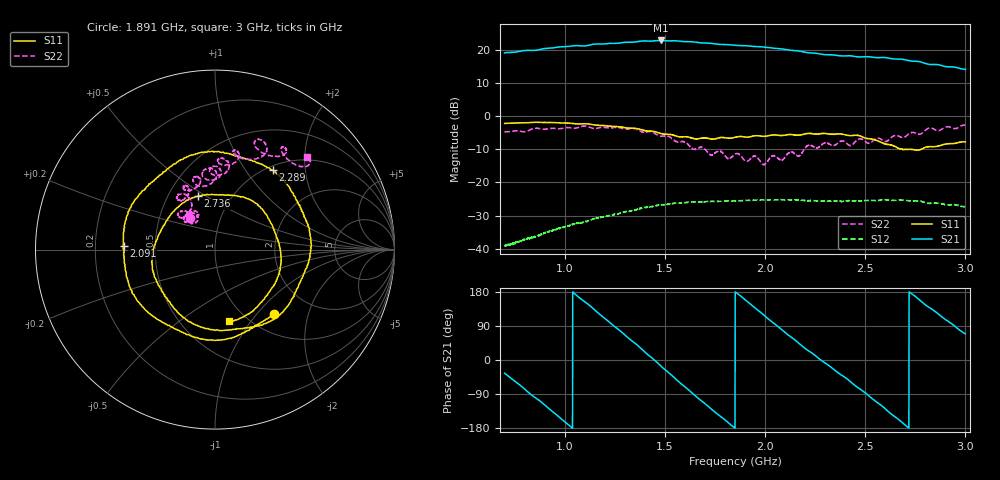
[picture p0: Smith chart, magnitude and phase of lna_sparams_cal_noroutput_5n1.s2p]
#  HZ  S  RI  R  50.00
! Rohde & Schwarz Vector Network Analyzer
! Rohde-Schwarz,ZNB20-2Port,1311601062102243,3.20
! Created: UTC 11/3/2022, 3:22:56 PM
! freq[Hz]  re:S11  im:S11  re:S21  im:S21  re:S12  im:S12  re:S22  im:S22
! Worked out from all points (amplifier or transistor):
!   2301 points, 700 MHz to 3 GHz, reference 50 ohm
!   highest |S21| = 22.8 dB at 1.48 GHz (marker M1)
!   |S21| within 3 dB of that: 848.2 MHz to 2.136 GHz (1.288 GHz wide, 86.3 % of centre) (the widest 1 of 4)
!   unconditionally stable (mu >= 1): start of sweep to 985.3 MHz; 986.6705 MHz to 987.4075 MHz; 2.017 GHz to end of sweep (the widest 3 of 5)
!   at 1.083 GHz: K = 0.90, MSG = 26.7 dB, |S12| = -32.3 dB
!   at 1.85 GHz: K = 0.98, MSG = 23.5 dB, |S12| = -25.6 dB
!   at 3 GHz: K = 1.29, MAG = 17.5 dB, |S12| = -27.4 dB
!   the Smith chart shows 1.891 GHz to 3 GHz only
!   S11 on the Smith chart (normalised r, x): 1.891 GHz: 1.33, -1.24; 2.091 GHz: 0.32, +0.02; 2.289 GHz: 1.07, +1.35; 2.736 GHz: 0.70, +0.46; 3 GHz: 0.83, -0.79
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7e8  0.7641 0.1175  7.338 -5.119  -0.00278 -0.0107  0.4646 0.3449
8.93e8  -0.3492 -0.7214  -4.463 -9.304  -0.0168 -0.00202  0.5967 -0.2093
9.96e8  -0.7847 -0.00904  -10.5 -3.575  -0.0173 0.0117  0.3854 -0.5339
1.084e9  -0.4753 0.596  -10.67 3.916  -0.00843 0.0228  0.0876 -0.6895
1.188e9  0.2782 0.6635  -5.153 11.05  0.0108 0.0279  -0.256 -0.6242
1.285e9  0.6672 0.1211  3.713 12.21  0.0299 0.0174  -0.4894 -0.4368
1.391e9  0.3463 -0.5032  12.25 5.76  0.0396 -0.0107  -0.5649 -0.0905
1.467e9  -0.16 -0.5355  13.54 -2.271  0.0302 -0.0336  -0.5019 0.0824
1.48e9  -0.2297 -0.4931  13.24 -3.775  0.027 -0.037  -0.4759 0.1347
1.567e9  -0.4882 -0.0199  7.523 -11.22  -0.00171 -0.0489  -0.3346 0.2286
1.644e9  -0.2517 0.3798  -0.2062 -13.06  -0.0291 -0.0415  -0.2284 0.2175
1.75e9  0.2923 0.3449  -9.039 -8.262  -0.0508 -0.00884  -0.1444 0.2323
1.85e9  0.4577 -0.1431  -11.64 -0.0301  -0.0452 0.0265  -0.1289 0.2316
1.891e9  0.3314 -0.3578  -11.03 3.275  -0.0366 0.0386  -0.142 0.176
1.999e9  -0.2432 -0.4306  -4.809 9.789  0.000388 0.0549  -0.1019 0.1581
2.091e9  -0.5097 0.0186  2.395 9.907  0.0335 0.0432  -0.1382 0.1748
2.234e9  0.0392 0.5418  8.44 2.806  0.0532 -0.00418  -0.2145 0.2861
2.289e9  0.321 0.4419  8.467 -0.591  0.047 -0.023  -0.1496 0.352
2.449e9  0.4069 -0.3127  3.032 -7.28  0.00342 -0.0523  0.01 0.4066
2.617e9  -0.3203 -0.186  -5.467 -5.115  -0.0482 -0.0248  0.0639 0.4295
2.736e9  -0.0966 0.2972  -6.664 0.8015  -0.0487 0.0193  0.116 0.5542
3e9  0.0774 -0.3996  1.813 4.705  0.0235 0.0358  0.5147 0.5159
